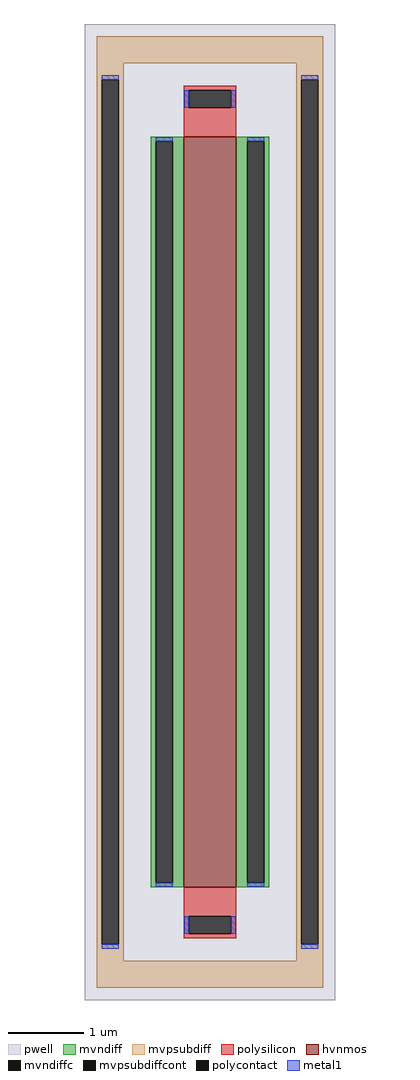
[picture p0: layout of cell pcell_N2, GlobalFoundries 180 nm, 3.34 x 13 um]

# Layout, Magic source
magic
tech gf180mcuD
magscale 1 10
<< pwell >>
rect -334 -1300 334 1300
<< hvnmos >>
rect -70 -1000 70 1000
<< mvndiff >>
rect -158 987 -70 1000
rect -158 -987 -145 987
rect -99 -987 -70 987
rect -158 -1000 -70 -987
rect 70 987 158 1000
rect 70 -987 99 987
rect 145 -987 158 987
rect 70 -1000 158 -987
<< mvndiffc >>
rect -145 -987 -99 987
rect 99 -987 145 987
<< mvpsubdiff >>
rect -302 1196 302 1268
rect -302 1152 -230 1196
rect -302 -1152 -289 1152
rect -243 -1152 -230 1152
rect 230 1152 302 1196
rect -302 -1196 -230 -1152
rect 230 -1152 243 1152
rect 289 -1152 302 1152
rect 230 -1196 302 -1152
rect -302 -1268 302 -1196
<< mvpsubdiffcont >>
rect -289 -1152 -243 1152
rect 243 -1152 289 1152
<< polysilicon >>
rect -70 1123 70 1136
rect -70 1077 -57 1123
rect 57 1077 70 1123
rect -70 1000 70 1077
rect -70 -1077 70 -1000
rect -70 -1123 -57 -1077
rect 57 -1123 70 -1077
rect -70 -1136 70 -1123
<< polycontact >>
rect -57 1077 57 1123
rect -57 -1123 57 -1077
<< metal1 >>
rect -289 1152 -243 1163
rect 243 1152 289 1163
rect -68 1077 -57 1123
rect 57 1077 68 1123
rect -145 987 -99 998
rect -145 -998 -99 -987
rect 99 987 145 998
rect 99 -998 145 -987
rect -68 -1123 -57 -1077
rect 57 -1123 68 -1077
rect -289 -1163 -243 -1152
rect 243 -1163 289 -1152
<< properties >>
string FIXED_BBOX -2660 -12320 2660 12320
<< end >>
